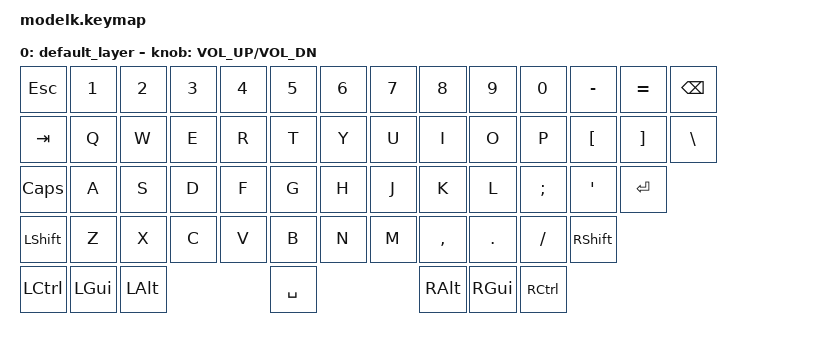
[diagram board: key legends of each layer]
#include <behaviors.dtsi>
#include <dt-bindings/zmk/keys.h>
#include <dt-bindings/zmk/bt.h>

/ {
    keymap {
        compatible = "zmk,keymap";

        default_layer {
            bindings = <
                // Row 0
                &kp ESC    &kp N1     &kp N2     &kp N3     &kp N4     &kp N5     &kp N6     &kp N7     &kp N8     &kp N9     &kp N0     &kp MINUS  &kp EQUAL  &kp BSPC
                // Row 1
                &kp TAB    &kp Q      &kp W      &kp E      &kp R      &kp T      &kp Y      &kp U      &kp I      &kp O      &kp P      &kp LBKT   &kp RBKT   &kp BSLH
                // Row 2
                &kp CLCK   &kp A      &kp S      &kp D      &kp F      &kp G      &kp H      &kp J      &kp K      &kp L      &kp SEMI   &kp APOS   &kp ENTER
                // Row 3
                &kp LSHFT  &kp Z      &kp X      &kp C      &kp V      &kp B      &kp N      &kp M      &kp COMMA  &kp DOT    &kp FSLH   &kp RSHFT
                // Row 4
                &kp LCTRL  &kp LGUI   &kp LALT                          &kp SPACE                        &kp RALT   &kp RGUI   &kp RCTRL
            >;
            
            sensor-bindings = <&inc_dec_kp C_VOL_UP C_VOL_DN>;
        };
    };
};

